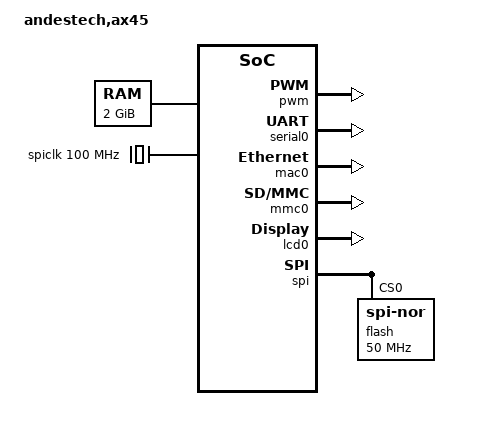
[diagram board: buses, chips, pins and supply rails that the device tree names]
/dts-v1/;

/ {
	#address-cells = <2>;
	#size-cells = <2>;
	compatible = "andestech,ae350";
	model = "andestech,ax45";
	aliases {
		uart0 = &serial0;
		spi0 = &spi;
	};

	chosen {
		bootargs = "console=ttyS0,38400n8 earlycon=sbi debug loglevel=7";
		stdout-path = "uart0:38400n8";
	};
	cpus {
		#address-cells = <1>;
		#size-cells = <0>;
		timebase-frequency = <60000000>;
		CPU0: cpu@0 {
			device_type = "cpu";
			reg = <0>;
			status = "okay";
			compatible = "riscv";
			riscv,isa = "rv64i2p0m2p0a2p0f2p0d2p0c2p0xv5-1p1xdsp0p0";
			riscv,priv-major = <1>;
			riscv,priv-minor = <10>;
			mmu-type = "riscv,sv48";
			clock-frequency = <60000000>;
			i-cache-size = <0x8000>;
			i-cache-sets = <256>;
			i-cache-block-size = <64>;
			i-cache-line-size = <64>;
			d-cache-size = <0x8000>;
			d-cache-sets = <128>;
			d-cache-block-size = <64>;
			d-cache-line-size = <64>;
			next-level-cache = <&L2>;
			CPU0_intc: interrupt-controller {
				#interrupt-cells = <1>;
				interrupt-controller;
				compatible = "riscv,cpu-intc";
			};
		};
		CPU1: cpu@1 {
			device_type = "cpu";
			reg = <1>;
			status = "okay";
			compatible = "riscv";
			riscv,isa = "rv64i2p0m2p0a2p0f2p0d2p0c2p0xv5-1p1xdsp0p0";
			riscv,priv-major = <1>;
			riscv,priv-minor = <10>;
			mmu-type = "riscv,sv48";
			clock-frequency = <60000000>;
			i-cache-size = <0x8000>;
			i-cache-sets = <256>;
			i-cache-block-size = <64>;
			i-cache-line-size = <64>;
			d-cache-size = <0x8000>;
			d-cache-sets = <128>;
			d-cache-block-size = <64>;
			d-cache-line-size = <64>;
			next-level-cache = <&L2>;
			CPU1_intc: interrupt-controller {
				#interrupt-cells = <1>;
				interrupt-controller;
				compatible = "riscv,cpu-intc";
			};
		};
		CPU2: cpu@2 {
			device_type = "cpu";
			reg = <2>;
			status = "okay";
			compatible = "riscv";
			riscv,isa = "rv64i2p0m2p0a2p0f2p0d2p0c2p0xv5-1p1xdsp0p0";
			riscv,priv-major = <1>;
			riscv,priv-minor = <10>;
			mmu-type = "riscv,sv48";
			clock-frequency = <60000000>;
			i-cache-size = <0x8000>;
			i-cache-sets = <256>;
			i-cache-block-size = <64>;
			i-cache-line-size = <64>;
			d-cache-size = <0x8000>;
			d-cache-sets = <128>;
			d-cache-block-size = <64>;
			d-cache-line-size = <64>;
			next-level-cache = <&L2>;
			CPU2_intc: interrupt-controller {
				#interrupt-cells = <1>;
				interrupt-controller;
				compatible = "riscv,cpu-intc";
			};
		};
		CPU3: cpu@3 {
			device_type = "cpu";
			reg = <3>;
			status = "okay";
			compatible = "riscv";
			riscv,isa = "rv64i2p0m2p0a2p0f2p0d2p0c2p0xv5-1p1xdsp0p0";
			riscv,priv-major = <1>;
			riscv,priv-minor = <10>;
			mmu-type = "riscv,sv48";
			clock-frequency = <60000000>;
			i-cache-size = <0x8000>;
			i-cache-sets = <256>;
			i-cache-block-size = <64>;
			i-cache-line-size = <64>;
			d-cache-size = <0x8000>;
			d-cache-sets = <128>;
			d-cache-block-size = <64>;
			d-cache-line-size = <64>;
			next-level-cache = <&L2>;
			CPU3_intc: interrupt-controller {
				#interrupt-cells = <1>;
				interrupt-controller;
				compatible = "riscv,cpu-intc";
			};
		};
	};
	L2: l2-cache@e0500000 {
		compatible = "cache";
		cache-level = <2>;
		cache-size = <0x80000>;
		reg = <0x00000000 0xe0500000 0x00000000 0x00001000>;
		andes,inst-prefetch = <3>;
		andes,data-prefetch = <3>;
		// The value format is <XRAMOCTL XRAMICTL>
		andes,tag-ram-ctl = <0 0>;
		andes,data-ram-ctl = <0 0>;
	};
	memory@0 {
		reg = <0x00000000 0x00000000 0x00000000 0x80000000>;
		device_type = "memory";
	};
	soc {
		#address-cells = <2>;
		#size-cells = <2>;
		compatible = "andestech,riscv-ae350-soc", "simple-bus";
		ranges;
		plic0: interrupt-controller@e4000000 {
			compatible = "riscv,plic0";
			reg = <0x00000000 0xe4000000 0x00000000 0x02000000>;
			interrupts-extended = < &CPU0_intc 11 &CPU0_intc 9 &CPU1_intc 11 &CPU1_intc 9 &CPU2_intc 11 &CPU2_intc 9 &CPU3_intc 11 &CPU3_intc 9>;
			interrupt-controller;
			#address-cells = <2>;
			#interrupt-cells = <2>;
			riscv,ndev = <71>;
		};
		plic1: interrupt-controller@e6400000 {
			compatible = "riscv,plic1";
			reg = <0x00000000 0xe6400000 0x00000000 0x00400000>;
			interrupts-extended = < &CPU0_intc 3 &CPU1_intc 3 &CPU2_intc 3 &CPU3_intc 3>;
			interrupt-controller;
			#address-cells = <2>;
			#interrupt-cells = <2>;
			riscv,ndev = <4>;
		};
		plmt0: plmt0@e6000000 {
			compatible = "riscv,plmt0";
			reg = <0x00000000 0xe6000000 0x00000000 0x00100000>;
			interrupts-extended = < &CPU0_intc 7 &CPU1_intc 7 &CPU2_intc 7 &CPU3_intc 7>;
		};
		spiclk: virt_100mhz {
			compatible = "fixed-clock";
			#clock-cells = <0>;
			clock-frequency = <100000000>;
		};
		timer0: timer@f0400000 {
			compatible = "andestech,atcpit100";
			reg = <0x00000000 0xf0400000 0x00000000 0x00001000>;
			interrupts = <3 4>;
			interrupt-parent = <&plic0>;
			clock-frequency = <60000000>;
		};
		pwm: pwm@f0400000 {
			compatible = "andestech,atcpit100-pwm";
			reg = <0x00000000 0xf0400000 0x00000000 0x00001000>;
			interrupts = <3 4>;
			interrupt-parent = <&plic0>;
			clock-frequency = <60000000>;
			pwm-cells = <2>;
		};
		wdt: wdt@f0500000 {
			compatible = "andestech,atcwdt200";
			reg = <0x00000000 0xf0500000 0x00000000 0x00001000>;
			interrupts = <3 4>;
			interrupt-parent = <&plic0>;
			clock-frequency = <15000000>;
		};
		serial0: serial@f0300000 {
			compatible = "andestech,uart16550", "ns16550a";
			reg = <0x00000000 0xf0300000 0x00000000 0x00001000>;
			interrupts = <9 4>;
			interrupt-parent = <&plic0>;
			clock-frequency = <19660800>;
			reg-shift = <2>;
			reg-offset = <32>;
			no-loopback-test = <1>;
		};
		rtc0: rtc@f0600000 {
			compatible = "andestech,atcrtc100";
			reg = <0x00000000 0xf0600000 0x00000000 0x00001000>;
			interrupts = <1 4 2 4>;
			interrupt-parent = <&plic0>;
			wakeup-source;
		};
		gpio: gpio@f0700000 {
			compatible = "andestech,atcgpio100";
			reg = <0x00000000 0xf0700000 0x00000000 0x00001000>;
			interrupts = <7 4>;
			interrupt-parent = <&plic0>;
			wakeup-source;
		};
		mac0: mac@e0100000 {
			compatible = "andestech,atmac100";
			reg = <0x00000000 0xe0100000 0x00000000 0x00001000>;
			interrupts = <19 4>;
			interrupt-parent = <&plic0>;
			dma-coherent;
		};
		smu: smu@f0100000 {
			compatible = "andestech,atcsmu";
			reg = <0x00000000 0xf0100000 0x00000000 0x00001000>;
		};
		mmc0: mmc@f0e00000 {
			compatible = "andestech,atfsdc010";
			reg = <0x00000000 0xf0e00000 0x00000000 0x00001000>;
			interrupts = <18 4>;
			interrupt-parent = <&plic0>;
			clock-freq-min-max = <400000 100000000>;
			max-frequency = <100000000>;
			fifo-depth = <16>;
			cap-sd-highspeed;
			dma-coherent;
		};
		dma0: dma@f0c00000 {
			compatible = "andestech,atcdmac300";
			reg = <0x00000000 0xf0c00000 0x00000000 0x00001000>;
			interrupts = <10 4 64 4 65 4 66 4 67 4 68 4 69 4 70 4 71 4>;
			interrupt-parent = <&plic0>;
			dma-channels = <8>;
		};
		lcd0: lcd@e0200000 {
			compatible = "andestech,atflcdc100";
			reg = <0x00000000 0xe0200000 0x00000000 0x00001000>;
			interrupts = <20 4>;
			interrupt-parent = <&plic0>;
			dma-coherent;
		};
		pmu: pmu {
			compatible = "riscv,andes-pmu";
			device_type = "pmu";
		};
		spi: spi@f0b00000 {
			compatible = "andestech,atcspi200";
			reg = <0x00000000 0xf0b00000 0x00000000 0x00001000>;
			interrupts = <4 4>;
			interrupt-parent = <&plic0>;
			#address-cells = <1>;
			#size-cells = <0>;
			num-cs = <1>;
			clocks = <&spiclk>;
			flash@0 {
				compatible = "jedec,spi-nor";
				reg = <0x00000000>;
				spi-max-frequency = <50000000>;
				spi-cpol;
				spi-cpha;
			};
		};
	};
};
